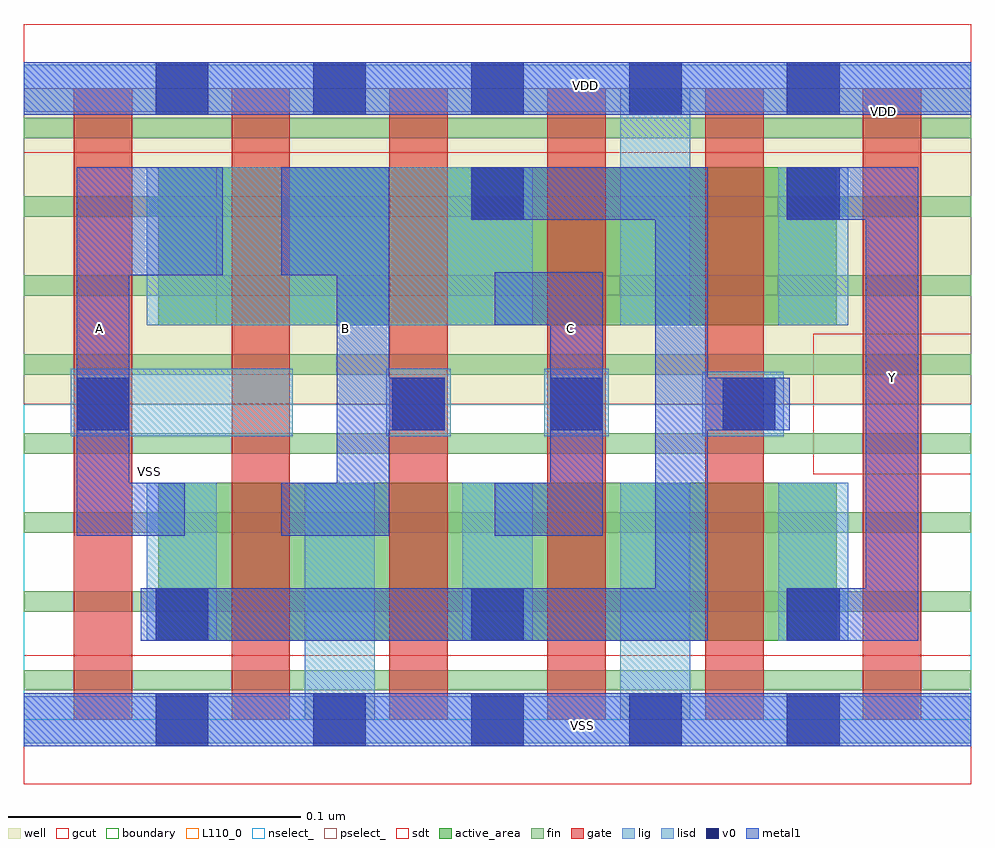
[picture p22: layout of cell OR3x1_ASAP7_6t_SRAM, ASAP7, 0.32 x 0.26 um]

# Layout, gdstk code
import gdstk
lib = gdstk.Library(unit=1e-6, precision=2.5e-10)
def R(c, l, rs):  # rectangles x0, y0, x1, y1
    for r in rs: c.add(gdstk.rectangle(r[:2], r[2:], *l))
def A(c, l, x, y, w, h, nx, ny, dx, dy):  # array of equal rectangles
    R(c, l, [(x+i*dx, y+j*dy, x+i*dx+w, y+j*dy+h) for i in range(nx) for j in range(ny)])
def P(c, l, *ps):  # polygons
    for p in ps: c.add(gdstk.Polygon(p, *l))
well = (1, 0)
fin = (2, 0)
gate = (7, 0)
gcut = (10, 0)
active_area = (11, 0)
nselect_ = (12, 0)
pselect_ = (13, 0)
lig = (16, 0)
lisd = (17, 0)
v0 = (18, 0)
metal1 = (19, 0)
sdt = (88, 0)
boundary = (100, 0)
L110_0 = (110, 0)

or3x1_asap7_6t_sram = lib.new_cell('OR3x1_ASAP7_6t_SRAM')
R(or3x1_asap7_6t_sram, well, [(0,0.108,0.324,0.216)])
A(or3x1_asap7_6t_sram, fin, 0, 0.01, 0.324, 0.007, 1, 8, 0, 0.027)
A(or3x1_asap7_6t_sram, gate, 0.017, 0, 0.02, 0.216, 6, 1, 0.054, 0)
R(or3x1_asap7_6t_sram, gcut, [(0,-0.022,0.324,0.022), (0.27,0.084,0.324,0.132), (0,0.194,0.324,0.238)])
R(or3x1_asap7_6t_sram, active_area, [(0.046,0.027,0.278,0.081), (0.046,0.135,0.278,0.189)])
R(or3x1_asap7_6t_sram, nselect_, [(0,0,0.324,0.108)])
R(or3x1_asap7_6t_sram, pselect_, [(0,0.108,0.324,0.216)])
R(or3x1_asap7_6t_sram, lig, [(0,-0.008,0.324,0.008), (0.016,0.097,0.092,0.12), (0.124,0.097,0.146,0.12), (0.178,0.097,0.2,0.12), (0.232,0.097,0.26,0.119), (0,0.208,0.324,0.224)])
A(or3x1_asap7_6t_sram, lisd, 0.042, 0.027, 0.024, 0.054, 3, 1, 0.108, 0)
R(or3x1_asap7_6t_sram, lisd, [(0.096,0,0.12,0.081), (0.204,0,0.228,0.081), (0.042,0.135,0.174,0.189), (0.204,0.135,0.228,0.216), (0.258,0.135,0.282,0.189)])
A(or3x1_asap7_6t_sram, v0, 0.045, -0.009, 0.018, 0.018, 5, 2, 0.054, 0.216)
A(or3x1_asap7_6t_sram, v0, 0.045, 0.027, 0.018, 0.018, 3, 1, 0.108, 0)
R(or3x1_asap7_6t_sram, v0, [(0.018,0.099,0.036,0.117), (0.126,0.099,0.144,0.117), (0.18,0.099,0.198,0.117), (0.239,0.099,0.257,0.117), (0.153,0.171,0.171,0.189), (0.261,0.171,0.279,0.189)])
R(or3x1_asap7_6t_sram, metal1, [(0,-0.009,0.324,0.009), (0,0.207,0.324,0.225)])
P(or3x1_asap7_6t_sram, metal1, [(0.306,0.189),(0.261,0.189),(0.261,0.171),(0.288,0.171),(0.288,0.045),(0.261,0.045),(0.261,0.027),(0.306,0.027)],
  [(0.262,0.117),(0.234,0.117),(0.234,0.189),(0.153,0.189),(0.153,0.171),(0.216,0.171),(0.216,0.045),(0.04,0.045),(0.04,0.027),(0.234,0.027),(0.234,0.099),(0.262,0.099)],
  [(0.198,0.153),(0.161,0.153),(0.161,0.135),(0.18,0.135),(0.18,0.081),(0.161,0.081),(0.161,0.063),(0.198,0.063)],
  [(0.144,0.117),(0.125,0.117),(0.125,0.189),(0.088,0.189),(0.088,0.152),(0.107,0.152),(0.107,0.081),(0.088,0.081),(0.088,0.063),(0.125,0.063),(0.125,0.099),(0.144,0.099)],
  [(0.055,0.081),(0.036,0.081),(0.036,0.152),(0.068,0.152),(0.068,0.189),(0.018,0.189),(0.018,0.063),(0.055,0.063)])
A(or3x1_asap7_6t_sram, sdt, 0.042, 0.027, 0.024, 0.054, 5, 1, 0.054, 0)
R(or3x1_asap7_6t_sram, sdt, [(0.042,0.135,0.066,0.189), (0.204,0.135,0.228,0.189), (0.258,0.135,0.282,0.189)])
R(or3x1_asap7_6t_sram, boundary, [(0,0,0.324,0.216)])
R(or3x1_asap7_6t_sram, L110_0, [(0,0,0.324,0.216)])
or3x1_asap7_6t_sram.add(gdstk.Label('C', (0.187,0.134), layer=19, texttype=251))
or3x1_asap7_6t_sram.add(gdstk.Label('Y', (0.297,0.117), layer=19, texttype=251))
or3x1_asap7_6t_sram.add(gdstk.Label('B', (0.11,0.134), layer=19, texttype=251))
or3x1_asap7_6t_sram.add(gdstk.Label('A', (0.026,0.134), layer=19, texttype=251))
or3x1_asap7_6t_sram.add(gdstk.Label('VDD', (0.192,0.217), layer=19, texttype=251))
or3x1_asap7_6t_sram.add(gdstk.Label('VSS', (0.191,-0.002), layer=19, texttype=251))
or3x1_asap7_6t_sram.add(gdstk.Label('VDD', (0.294,0.208), layer=1, texttype=251))
or3x1_asap7_6t_sram.add(gdstk.Label('VSS', (0.043,0.085), layer=3, texttype=251))

lib.write_gds('OR3x1_ASAP7_6t_SRAM.gds')
